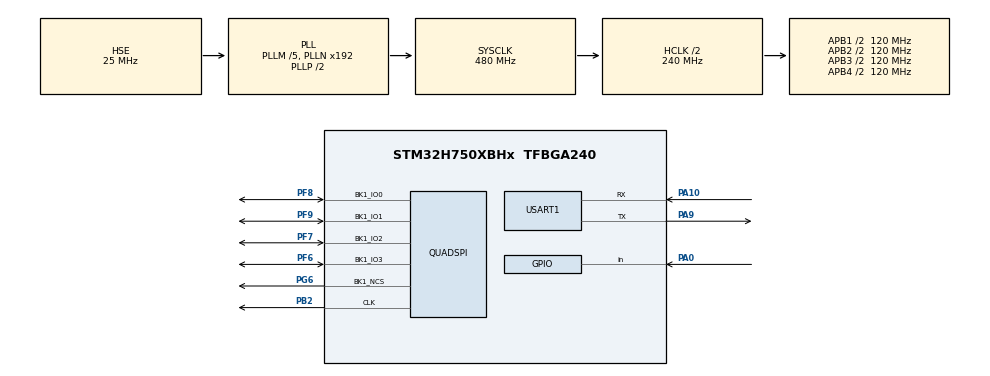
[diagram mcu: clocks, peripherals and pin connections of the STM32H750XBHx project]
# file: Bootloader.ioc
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CORTEX_M7.AccessPermission_S-Cortex_Memory_Protection_Unit_Region1_Settings_S=MPU_REGION_PRIV_RO
CORTEX_M7.BaseAddress_S-Cortex_Memory_Protection_Unit_Region1_Settings_S=0x08000000
CORTEX_M7.Enable_S-Cortex_Memory_Protection_Unit_Region1_Settings_S=MPU_REGION_ENABLE
CORTEX_M7.IsCacheable_S-Cortex_Memory_Protection_Unit_Region1_Settings_S=MPU_ACCESS_CACHEABLE
CORTEX_M7.Number_S-Cortex_Memory_Protection_Unit_Region2_Settings_S=MPU_REGION_NUMBER2
CORTEX_M7.Size_S-Cortex_Memory_Protection_Unit_Region1_Settings_S=MPU_REGION_SIZE_128KB
CORTEX_M7.default_mode_Activation=1
Mcu.Family=STM32H7
Mcu.Name=STM32H750XBHx
Mcu.Package=TFBGA240
NVIC.PriorityGroup=NVIC_PRIORITYGROUP_4
NVIC.QUADSPI_IRQn=true\:0\:0\:false\:false\:true\:true\:true\:true
PA0.GPIO_PuPd=GPIO_PULLDOWN
PA0.Signal=GPIO_Input
PA10.Mode=Asynchronous
PA10.Signal=USART1_RX
PA13\ (JTMS/SWDIO).Mode=Serial_Wire
PA13\ (JTMS/SWDIO).Signal=DEBUG_JTMS-SWDIO
PA14\ (JTCK/SWCLK).Mode=Serial_Wire
PA14\ (JTCK/SWCLK).Signal=DEBUG_JTCK-SWCLK
PA9.Mode=Asynchronous
PA9.Signal=USART1_TX
PB2.GPIO_PuPd=GPIO_PULLUP
PB2.GPIO_Speed=GPIO_SPEED_FREQ_VERY_HIGH
PB2.Mode=Single Bank 1
PB2.Signal=QUADSPI_CLK
PF6.GPIO_Speed=GPIO_SPEED_FREQ_VERY_HIGH
PF6.Mode=Single Bank 1
PF6.Signal=QUADSPI_BK1_IO3
PF7.GPIO_Speed=GPIO_SPEED_FREQ_VERY_HIGH
PF7.Mode=Single Bank 1
PF7.Signal=QUADSPI_BK1_IO2
PF8.GPIO_Speed=GPIO_SPEED_FREQ_VERY_HIGH
PF8.Mode=Single Bank 1
PF8.Signal=QUADSPI_BK1_IO0
PF9.GPIO_Speed=GPIO_SPEED_FREQ_VERY_HIGH
PF9.Mode=Single Bank 1
PF9.Signal=QUADSPI_BK1_IO1
PG6.GPIO_PuPd=GPIO_PULLUP
PG6.GPIO_Speed=GPIO_SPEED_FREQ_VERY_HIGH
PG6.Mode=Single Bank 1
PG6.Signal=QUADSPI_BK1_NCS
PH0-OSC_IN\ (PH0).Mode=HSE-External-Clock-Source
PH0-OSC_IN\ (PH0).Signal=RCC_OSC_IN
ProjectManager.HeapSize=0x200
ProjectManager.StackSize=0x400
ProjectManager.TargetToolchain=MDK-ARM V5.32
QUADSPI.ChipSelectHighTime=QSPI_CS_HIGH_TIME_5_CYCLE
QUADSPI.ClockMode=QSPI_CLOCK_MODE_3
QUADSPI.ClockPrescaler=1
QUADSPI.FifoThreshold=4
QUADSPI.FlashSize=24
QUADSPI.SampleShifting=QSPI_SAMPLE_SHIFTING_HALFCYCLE
RCC.ADCFreq_Value=129000000
RCC.APB1Freq_Value=120000000
RCC.APB2Freq_Value=120000000
RCC.APB3Freq_Value=120000000
RCC.APB4Freq_Value=120000000
RCC.CortexFreq_Value=480000000
RCC.D1PPRE=RCC_APB3_DIV2
RCC.D2PPRE1=RCC_APB1_DIV2
RCC.D2PPRE2=RCC_APB2_DIV2
RCC.D3PPRE=RCC_APB4_DIV2
RCC.DIVM1=4
RCC.DIVN1=60
RCC.HCLKFreq_Value=240000000
RCC.HPRE=RCC_HCLK_DIV2
RCC.PLL2FRACN=0
RCC.PLL3FRACN=0
RCC.PLLFRACN=0
RCC.SYSCLKFreq_VALUE=480000000
RCC.SYSCLKSource=RCC_SYSCLKSOURCE_PLLCLK
RCC.USBFreq_Value=480000000
USART1.VirtualMode-Asynchronous=VM_ASYNC
VP_MEMORYMAP_VS_MEMORYMAP.Mode=CurAppReg
board=custom

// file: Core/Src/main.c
/* USER CODE BEGIN Header */
/**
  ******************************************************************************
  * @file           : main.c
  * @brief          : Main program body
  ******************************************************************************
  * @attention
  *
  * Copyright (c) 2025 STMicroelectronics.
  * All rights reserved.
  *
  * This software is licensed under terms that can be found in the LICENSE file
  * in the root directory of this software component.
  * If no LICENSE file comes with this software, it is provided AS-IS.
  *
  ******************************************************************************
  */
/* USER CODE END Header */
#include "main.h"
#include "memorymap.h"
#include "quadspi.h"
#include "usart.h"
#include "bsp_debug_usart.h"
#include "gpio.h"

/* USER CODE BEGIN Includes */
#include "bsp_qspi_flash.h"
/* USER CODE END Includes */

void SystemClock_Config(void);
static void MPU_Config(void);
/* USER CODE BEGIN PFP */
//QSPI_CommandTypeDef QSPI_Command;
//QSPI_MemoryMappedTypeDef QSPI_Mem;
/* USER CODE END PFP */

/* USER CODE BEGIN 0 */
typedef void (*pFunction)(void);
pFunction JumpToApp;
uint32_t JumpAddress;
#define APP_FLASH_ADDR	(0x90000000)	//Address of the application
//#define APP_FLASH_ADDR	(0x8010000)	//Address of the application
void Jump_to_Application()
{
	uint32_t app_stack = *(__IO uint32_t *)APP_FLASH_ADDR;
	uint32_t app_entry = *(__IO uint32_t *)(APP_FLASH_ADDR + 4);

	/* 打印调试信息 */
	printf("App Stack Pointer: 0x%08X\r\n", app_stack);
	printf("App Entry Point:   0x%08X\r\n", app_entry);

  /* 检查栈指针是否在 AXI SRAM 范围内 (0x24000000 - 0x24080000) */
  if((app_stack & 0x2FFE0000) == 0x24000000)
  {
    printf("Stack check PASSED, jumping to App...\r\n");
    HAL_Delay(50); /* 等待串口发送完成 */

    /* --- Prepare system for jumping to the application --- */
    /* Disable interrupts */
    __disable_irq();

    /* Stop SysTick */
    SysTick->CTRL = 0;
    SysTick->LOAD = 0;
    SysTick->VAL = 0;

    /* De-initialize HAL to release peripherals */
//    HAL_DeInit();							//不能有！！！

  #if defined(__MPU_PRESENT) && (__MPU_PRESENT == 1U)
    /* Disable MPU to let the application set its own regions */
    HAL_MPU_Disable();
  #endif
    /* Disable and clean DCache/ICache to avoid stale/inconsistent cache when switching
       to application running in QSPI memory-mapped region */
#if defined(__DCACHE_PRESENT) && (__DCACHE_PRESENT == 1U)
    SCB_CleanInvalidateDCache();
    SCB_DisableDCache();
#endif
#if defined(__ICACHE_PRESENT) && (__ICACHE_PRESENT == 1U)
    SCB_DisableICache();
#endif

    /* Disable all NVIC interrupts */
    for (uint32_t i = 0; i < 8; i++) {
      NVIC->ICER[i] = 0xFFFFFFFFU;
      NVIC->ICPR[i] = 0xFFFFFFFFU;
    }

    /* Set vector table to application */
    SCB->VTOR = APP_FLASH_ADDR;

    /* Ensure memory operations complete */
    __DSB();
    __ISB();

    /* Set application's Main Stack Pointer */
    __set_MSP(app_stack);

    /* Data/Instruction synchronization before branch */
    __DSB();
    __ISB();

    /* Jump to application (Reset Handler). Ensure Thumb bit is set in address */
    JumpAddress = app_entry;
    if ((JumpAddress & 1U) == 0U) {
      /* If LSB not set, set it (ensure Thumb mode) */
      JumpAddress |= 1U;
    }
    JumpToApp = (pFunction)JumpAddress;

    /* Final barrier and jump */
    __DSB();
    __ISB();
    JumpToApp();
  }
  else
  {
    printf("Stack check FAILED! App not found or corrupted.\r\n");
    printf("Expected: 0x24xxxxxx, Got: 0x%08X\r\n", app_stack);
  }
}

/* W25Q256_EnterMemoryMappedMode removed - using bsp_qspi_flash.c instead
 * QSPI_FLASH_Init() will initialize QSPI and enter memory-mapped mode automatically */

/* USER CODE END 0 */

int main(void)
{

  /* MPU Configuration--------------------------------------------------------*/
  MPU_Config();

  /* MCU Configuration--------------------------------------------------------*/

  /* Reset of all peripherals, Initializes the Flash interface and the Systick. */
  HAL_Init();

  /* Configure the system clock */
  SystemClock_Config();

  /* Initialize all configured peripherals */
  MX_GPIO_Init();
  MX_USART1_UART_Init();
	DEBUG_USART_Config();
  /* MX_QUADSPI_Init() removed - using bsp_qspi_flash instead */
  /* USER CODE BEGIN 2 */
  HAL_Delay(500);  /* 增加延时，确保串口助手能捕获 */

  /* === TEST MODE: Comment out QSPI and Jump to test basic Bootloader === */
  printf("\r\n\r\n");
  printf("========================================\r\n");
  printf("       Bootloader Started!\r\n");
  printf("========================================\r\n");

#if 0  /* Set to 0 to enable QSPI and jump, 1 for basic test loop */
  /* Basic test - just blink or print to verify bootloader runs */
  while(1)
  {
    printf("Bootloader running...\r\n");
    HAL_Delay(1000);
  }
#else
  /* Initialize QSPI Flash and enter memory-mapped mode
   * This single call does: GPIO init, QSPI init, QE enable, 4-byte addr mode, memory-mapped mode */
  QSPI_FLASH_Init();
  //HAL_UART_Transmit(&huart1,"QSPI Ready\n",11,100);
	printf("QSPI Ready\n");

  /* Debug: Read and print data at 0x90000000 to verify memory-mapped mode */
  printf("Reading from QSPI memory-mapped address:\r\n");
  printf("  [0x90000000] = 0x%08X (should be stack pointer ~0x24xxxxxx)\r\n",
         *(__IO uint32_t*)0x90000000);
  printf("  [0x90000004] = 0x%08X (should be reset handler ~0x900xxxxx)\r\n",
         *(__IO uint32_t*)0x90000004);
  printf("  [0x90000008] = 0x%08X\r\n", *(__IO uint32_t*)0x90000008);
  printf("  [0x9000000C] = 0x%08X\r\n", *(__IO uint32_t*)0x9000000C);

//  while (HAL_GPIO_ReadPin(GPIOA,GPIO_PIN_0)!= GPIO_PIN_SET)
//  {
//	  //HAL_UART_Transmit(&huart1,"Ready\n",6,100);
//		printf("Ready\n");
//	  HAL_Delay(500);
//  }
  Jump_to_Application();
#endif

  /* USER CODE END 2 */

  /* Infinite loop */
  /* USER CODE BEGIN WHILE */
  while (1)
  {
	  //HAL_UART_Transmit(&huart1,"Test\n",5,100)
		printf("Test\n");
	  //HAL_UART_Transmit(&huart1,(const uint8_t*)((__IO uint32_t *)APP_FLASH_ADDR),4,100);
	  //HAL_UART_Transmit(&huart1,(const uint8_t*)((__IO uint32_t *)0x10000),4,100);
	  HAL_Delay(500);
    /* USER CODE END WHILE */

  }
}

//void SystemClock_Config(void)
//{
//  RCC_OscInitTypeDef RCC_OscInitStruct = {0};
//  RCC_ClkInitTypeDef RCC_ClkInitStruct = {0};

//  /** Supply configuration update enable
//  */
//  HAL_PWREx_ConfigSupply(PWR_LDO_SUPPLY);

//  /** Configure the main internal regulator output voltage
//  */
//  __HAL_PWR_VOLTAGESCALING_CONFIG(PWR_REGULATOR_VOLTAGE_SCALE1);

//  while(!__HAL_PWR_GET_FLAG(PWR_FLAG_VOSRDY)) {}

//  __HAL_RCC_SYSCFG_CLK_ENABLE();
//  __HAL_PWR_VOLTAGESCALING_CONFIG(PWR_REGULATOR_VOLTAGE_SCALE0);

//  while(!__HAL_PWR_GET_FLAG(PWR_FLAG_VOSRDY)) {}

//  /** Initializes the RCC Oscillators according to the specified parameters
//  * in the RCC_OscInitTypeDef structure.
//  */
//  RCC_OscInitStruct.OscillatorType = RCC_OSCILLATORTYPE_HSI;
//  RCC_OscInitStruct.HSIState = RCC_HSI_DIV1;
//  RCC_OscInitStruct.HSICalibrationValue = RCC_HSICALIBRATION_DEFAULT;
//  RCC_OscInitStruct.PLL.PLLState = RCC_PLL_ON;
//  RCC_OscInitStruct.PLL.PLLSource = RCC_PLLSOURCE_HSI;
//  RCC_OscInitStruct.PLL.PLLM = 4;
//  RCC_OscInitStruct.PLL.PLLN = 60;
//  RCC_OscInitStruct.PLL.PLLP = 2;
//  RCC_OscInitStruct.PLL.PLLQ = 2;
//  RCC_OscInitStruct.PLL.PLLR = 2;
//  RCC_OscInitStruct.PLL.PLLRGE = RCC_PLL1VCIRANGE_3;
//  RCC_OscInitStruct.PLL.PLLVCOSEL = RCC_PLL1VCOWIDE;
//  RCC_OscInitStruct.PLL.PLLFRACN = 0;
//  if (HAL_RCC_OscConfig(&RCC_OscInitStruct) != HAL_OK)
//  {
//    Error_Handler();
//  }

//  /** Initializes the CPU, AHB and APB buses clocks
//  */
//  RCC_ClkInitStruct.ClockType = RCC_CLOCKTYPE_HCLK|RCC_CLOCKTYPE_SYSCLK
//                              |RCC_CLOCKTYPE_PCLK1|RCC_CLOCKTYPE_PCLK2
//                              |RCC_CLOCKTYPE_D3PCLK1|RCC_CLOCKTYPE_D1PCLK1;
//  RCC_ClkInitStruct.SYSCLKSource = RCC_SYSCLKSOURCE_PLLCLK;
//  RCC_ClkInitStruct.SYSCLKDivider = RCC_SYSCLK_DIV1;
//  RCC_ClkInitStruct.AHBCLKDivider = RCC_HCLK_DIV2;
//  RCC_ClkInitStruct.APB3CLKDivider = RCC_APB3_DIV2;
//  RCC_ClkInitStruct.APB1CLKDivider = RCC_APB1_DIV2;
//  RCC_ClkInitStruct.APB2CLKDivider = RCC_APB2_DIV2;
//  RCC_ClkInitStruct.APB4CLKDivider = RCC_APB4_DIV2;

//  if (HAL_RCC_ClockConfig(&RCC_ClkInitStruct, FLASH_LATENCY_4) != HAL_OK)
//  {
//    Error_Handler();
//  }
//}

void SystemClock_Config(void)
{
  RCC_OscInitTypeDef RCC_OscInitStruct = {0};
  RCC_ClkInitTypeDef RCC_ClkInitStruct = {0};

  /** 启用电源配置更新
  */
  HAL_PWREx_ConfigSupply(PWR_LDO_SUPPLY);
  /** 配置主内稳压器输出电压
  */
  __HAL_PWR_VOLTAGESCALING_CONFIG(PWR_REGULATOR_VOLTAGE_SCALE0);

  while(!__HAL_PWR_GET_FLAG(PWR_FLAG_VOSRDY)) {}
  /** 初始化CPU、AHB和APB总线时钟
  */
  RCC_OscInitStruct.OscillatorType = RCC_OSCILLATORTYPE_HSE;
  RCC_OscInitStruct.HSEState = RCC_HSE_ON;
  RCC_OscInitStruct.PLL.PLLState = RCC_PLL_ON;
  RCC_OscInitStruct.PLL.PLLSource = RCC_PLLSOURCE_HSE;
  RCC_OscInitStruct.PLL.PLLM = 5;
  RCC_OscInitStruct.PLL.PLLN = 192;
  RCC_OscInitStruct.PLL.PLLP = 2;
  RCC_OscInitStruct.PLL.PLLQ = 2;
  RCC_OscInitStruct.PLL.PLLR = 2;
  RCC_OscInitStruct.PLL.PLLRGE = RCC_PLL1VCIRANGE_2;
  RCC_OscInitStruct.PLL.PLLVCOSEL = RCC_PLL1VCOWIDE;
  RCC_OscInitStruct.PLL.PLLFRACN = 0;
  if (HAL_RCC_OscConfig(&RCC_OscInitStruct) != HAL_OK)
  {
		while(1);
  }
  /** 初始化CPU、AHB和APB总线时钟
  */
  RCC_ClkInitStruct.ClockType = RCC_CLOCKTYPE_HCLK|RCC_CLOCKTYPE_SYSCLK
                              |RCC_CLOCKTYPE_PCLK1|RCC_CLOCKTYPE_PCLK2
                              |RCC_CLOCKTYPE_D3PCLK1|RCC_CLOCKTYPE_D1PCLK1;
  RCC_ClkInitStruct.SYSCLKSource = RCC_SYSCLKSOURCE_PLLCLK;
  RCC_ClkInitStruct.SYSCLKDivider = RCC_SYSCLK_DIV1;
  RCC_ClkInitStruct.AHBCLKDivider = RCC_HCLK_DIV2;
  RCC_ClkInitStruct.APB3CLKDivider = RCC_APB3_DIV2;
  RCC_ClkInitStruct.APB1CLKDivider = RCC_APB1_DIV2;
  RCC_ClkInitStruct.APB2CLKDivider = RCC_APB2_DIV2;
  RCC_ClkInitStruct.APB4CLKDivider = RCC_APB4_DIV2;

  if (HAL_RCC_ClockConfig(&RCC_ClkInitStruct, FLASH_LATENCY_4) != HAL_OK)
  {
		while(1);
  }
}

 /* MPU Configuration */

void MPU_Config(void)
{
  MPU_Region_InitTypeDef MPU_InitStruct = {0};

  /* Disables the MPU */
  HAL_MPU_Disable();

  /** Initializes and configures the Region and the memory to be protected
  */
  MPU_InitStruct.Enable = MPU_REGION_ENABLE;
  MPU_InitStruct.Number = MPU_REGION_NUMBER0;
  MPU_InitStruct.BaseAddress = 0x0;
  MPU_InitStruct.Size = MPU_REGION_SIZE_4GB;
  MPU_InitStruct.SubRegionDisable = 0x87;
  MPU_InitStruct.TypeExtField = MPU_TEX_LEVEL0;
  MPU_InitStruct.AccessPermission = MPU_REGION_NO_ACCESS;
  MPU_InitStruct.DisableExec = MPU_INSTRUCTION_ACCESS_DISABLE;
  MPU_InitStruct.IsShareable = MPU_ACCESS_SHAREABLE;
  MPU_InitStruct.IsCacheable = MPU_ACCESS_NOT_CACHEABLE;
  MPU_InitStruct.IsBufferable = MPU_ACCESS_NOT_BUFFERABLE;

  HAL_MPU_ConfigRegion(&MPU_InitStruct);

  /** Initializes and configures the Region and the memory to be protected
  */
  MPU_InitStruct.Number = MPU_REGION_NUMBER1;
  MPU_InitStruct.BaseAddress = 0x08000000;
  MPU_InitStruct.Size = MPU_REGION_SIZE_128KB;
  MPU_InitStruct.SubRegionDisable = 0x0;
  MPU_InitStruct.AccessPermission = MPU_REGION_PRIV_RO;
  MPU_InitStruct.DisableExec = MPU_INSTRUCTION_ACCESS_ENABLE;
  MPU_InitStruct.IsShareable = MPU_ACCESS_NOT_SHAREABLE;
  MPU_InitStruct.IsCacheable = MPU_ACCESS_CACHEABLE;

  HAL_MPU_ConfigRegion(&MPU_InitStruct);
  /** Configure QSPI memory mapped region (external flash XIP at 0x90000000) */
  MPU_InitStruct.Number = MPU_REGION_NUMBER2;
  MPU_InitStruct.BaseAddress = 0x90000000;
  MPU_InitStruct.Size = MPU_REGION_SIZE_64MB;
  MPU_InitStruct.SubRegionDisable = 0x0;
  MPU_InitStruct.AccessPermission = MPU_REGION_FULL_ACCESS;
  MPU_InitStruct.DisableExec = MPU_INSTRUCTION_ACCESS_ENABLE;
  MPU_InitStruct.IsShareable = MPU_ACCESS_NOT_SHAREABLE;
  MPU_InitStruct.IsCacheable = MPU_ACCESS_CACHEABLE;
  MPU_InitStruct.IsBufferable = MPU_ACCESS_BUFFERABLE;

  HAL_MPU_ConfigRegion(&MPU_InitStruct);
  /* Enables the MPU */
  HAL_MPU_Enable(MPU_PRIVILEGED_DEFAULT);

}

void Error_Handler(void)
{
  __disable_irq();
  while (1)
  {
  }
}
